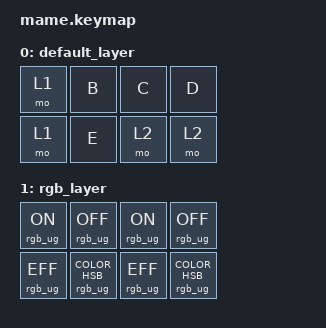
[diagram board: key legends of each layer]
#include <behaviors.dtsi>
#include <dt-bindings/zmk/keys.h>
#include <dt-bindings/zmk/rgb.h>

/ {
    keymap {
        compatible = "zmk,keymap";

        default_layer {
            bindings = <
                &mo 1    &kp B   &kp C    &kp D
                &mo 1    &kp E   &mo 2    &mo 2
            >;
        };

        rgb_layer {
            bindings = <
                &rgb_ug RGB_ON    &rgb_ug RGB_OFF                    &rgb_ug RGB_ON    &rgb_ug RGB_OFF                   
                &rgb_ug RGB_EFF   &rgb_ug RGB_COLOR_HSB(128,100,100) &rgb_ug RGB_EFF   &rgb_ug RGB_COLOR_HSB(128,100,100)
            >;
        };
    };
 };

&led_strip {
    chain-length = <16>;
};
